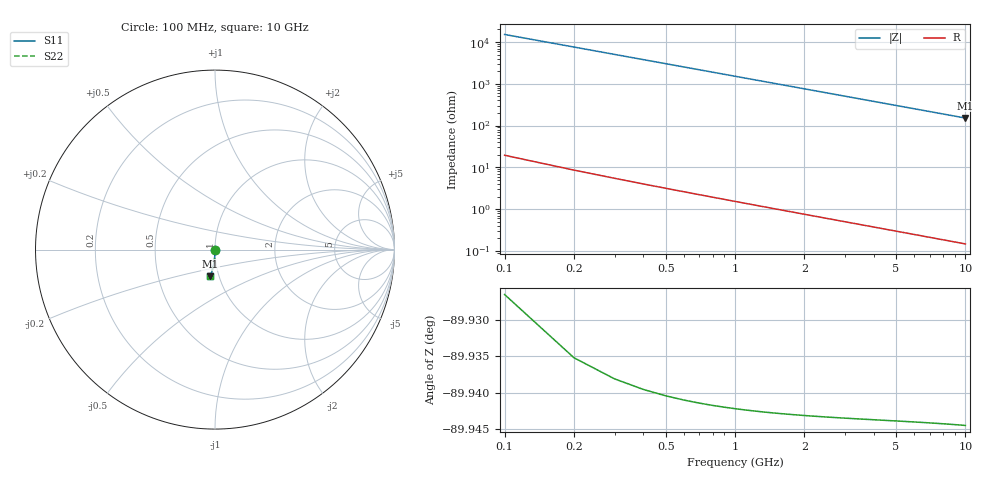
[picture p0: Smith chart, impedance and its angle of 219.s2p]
# Hz S RI R 50.00
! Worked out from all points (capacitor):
!   100 points, 100 MHz to 10 GHz, reference 50 ohm
!   read as one part in shunt: C = 105 fF near 100 MHz
!   lowest |Z| = 152 ohm at 10 GHz (marker M1)
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1e8  0.0001 -0.00153  0.9999 -0.00176  0.9999 -0.00176  0.0001 -0.00153
2e8  9.14e-05 -0.00307  0.9999 -0.00352  0.9999 -0.00352  9.14e-05 -0.00307
3e8  7.68e-05 -0.0046  0.9999 -0.00528  0.9999 -0.00528  7.68e-05 -0.0046
4e8  5.68e-05 -0.00613  0.9998 -0.00703  0.9998 -0.00703  5.68e-05 -0.00613
5e8  3.13e-05 -0.00767  0.9998 -0.00879  0.9998 -0.00879  3.13e-05 -0.00767
6e8  3.5e-07 -0.0092  0.9998 -0.0105  0.9998 -0.0105  3.5e-07 -0.0092
7e8  -3.6e-05 -0.0107  0.9997 -0.0123  0.9997 -0.0123  -3.6e-05 -0.0107
8e8  -7.78e-05 -0.0123  0.9997 -0.0141  0.9997 -0.0141  -7.78e-05 -0.0123
9e8  -0.000125 -0.0138  0.9997 -0.0158  0.9997 -0.0158  -0.000125 -0.0138
1.1e9  -0.000236 -0.0169  0.9995 -0.0193  0.9995 -0.0193  -0.000236 -0.0169
1.4e9  -0.000442 -0.0215  0.9993 -0.0246  0.9993 -0.0246  -0.000442 -0.0215
1.8e9  -0.000793 -0.0276  0.999 -0.0316  0.999 -0.0316  -0.000793 -0.0276
2.1e9  -0.00111 -0.0322  0.9987 -0.0369  0.9987 -0.0369  -0.00111 -0.0322
2.5e9  -0.00161 -0.0383  0.9981 -0.0439  0.9981 -0.0439  -0.00161 -0.0383
2.9e9  -0.0022 -0.0444  0.9976 -0.0509  0.9976 -0.0509  -0.0022 -0.0444
3.4e9  -0.00305 -0.052  0.9967 -0.0596  0.9967 -0.0596  -0.00305 -0.052
4.2e9  -0.0047 -0.0641  0.995 -0.0736  0.995 -0.0736  -0.0047 -0.0641
5.1e9  -0.00695 -0.0777  0.9928 -0.0892  0.9928 -0.0892  -0.00695 -0.0777
5.9e9  -0.00931 -0.0897  0.9904 -0.103  0.9904 -0.103  -0.00931 -0.0897
6.7e9  -0.012 -0.1016  0.9877 -0.1167  0.9877 -0.1167  -0.012 -0.1016
8.4e9  -0.0188 -0.1266  0.9808 -0.1455  0.9808 -0.1455  -0.0188 -0.1266
1e10  -0.0265 -0.1495  0.973 -0.1721  0.973 -0.1721  -0.0265 -0.1495
